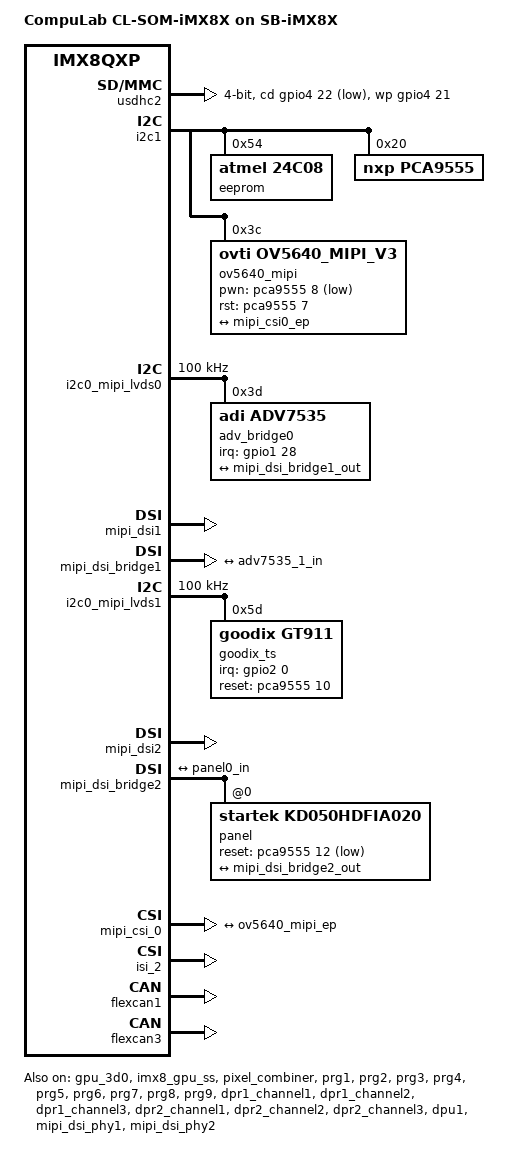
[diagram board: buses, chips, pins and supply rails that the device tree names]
/*
 * Copyright 2019 CompuLab
 *
 * This program is free software; you can redistribute it and/or
 * modify it under the terms of the GNU General Public License
 * as published by the Free Software Foundation; either version 2
 * of the License, or (at your option) any later version.
 *
 * This program is distributed in the hope that it will be useful,
 * but WITHOUT ANY WARRANTY; without even the implied warranty of
 * MERCHANTABILITY or FITNESS FOR A PARTICULAR PURPOSE.  See the
 * GNU General Public License for more details.
 */

#include "cl-som-imx8x.dts"

/ {
	model = "CompuLab CL-SOM-iMX8X on SB-iMX8X";
	compatible = "compulab,sbc-imx8x", "compulab,cl-som-imx8x", "fsl,imx8qxp";
};

&usdhc2 {
	pinctrl-names = "default", "state_100mhz", "state_200mhz";
	pinctrl-0 = <&pinctrl_usdhc2>, <&pinctrl_usdhc2_gpio>;
	pinctrl-1 = <&pinctrl_usdhc2_100mhz>, <&pinctrl_usdhc2_gpio>;
	pinctrl-2 = <&pinctrl_usdhc2_200mhz>, <&pinctrl_usdhc2_gpio>;
	bus-width = <4>;
	cd-gpios = <&gpio4 22 GPIO_ACTIVE_LOW>;
	wp-gpios = <&gpio4 21 GPIO_ACTIVE_HIGH>;
	status = "okay";
};

&i2c1 {
	eeprom@54 {
		compatible = "atmel,24c08";
		reg = <0x54>;
		pagesize = <16>;
	};

	pca9555: pca9555@20 {
		compatible = "nxp,pca9555";
		gpio-controller;
		#gpio-cells = <2>;
		reg = <0x20>;
	};

	ov5640_mipi: ov5640_mipi@3c {
		compatible = "ovti,ov5640_mipi_v3";
		reg = <0x3c>;
		pinctrl-names = "default";
		pinctrl-0 = <&pinctrl_mipi_csi0>;
		clocks = <&clk IMX8QXP_CLK_DUMMY>;
		clock-names = "csi_mclk";
		csi_id = <0>;
		pwn-gpios = <&pca9555 8 GPIO_ACTIVE_LOW>;
		rst-gpios = <&pca9555 7 GPIO_ACTIVE_HIGH>;
		mclk = <25000000>;
		mclk_source = <0>;
		mipi_csi;
		status = "okay";
		port {
			ov5640_mipi_ep: endpoint {
				remote-endpoint = <&mipi_csi0_ep>;
			};
		};
	};
};

/* GPU */
&gpu_3d0 {
        status = "okay";
};

&imx8_gpu_ss {
        status = "okay";
};

&pixel_combiner {
        status = "okay";
};

&prg1 {
        status = "okay";
};

&prg2 {
        status = "okay";
};

&prg3 {
        status = "okay";
};

&prg4 {
        status = "okay";
};

&prg5 {
        status = "okay";
};

&prg6 {
        status = "okay";
};

&prg7 {
        status = "okay";
};

&prg8 {
        status = "okay";
};

&prg9 {
        status = "okay";
};

&dpr1_channel1 {
	status = "okay";
};

&dpr1_channel2 {
	status = "okay";
};

&dpr1_channel3 {
	status = "okay";
};

&dpr2_channel1 {
	status = "okay";
};

&dpr2_channel2 {
	status = "okay";
};

&dpr2_channel3 {
	status = "okay";
};

/* Display */
&dpu1 {
	status = "okay";
};

/* DSI/LVDS port 0 */
&i2c0_mipi_lvds0 {
	#address-cells = <1>;
	#size-cells = <0>;
	pinctrl-names = "default";
	pinctrl-0 = <&pinctrl_i2c0_mipi_lvds0>;
	clock-frequency = <100000>;
	status = "okay";

	adv_bridge0: adv7535@3d {
		compatible = "adi,adv7535", "adi,adv7533";
		reg = <0x3d>;
		adi,dsi-lanes = <4>;
		adi,dsi-channel = <1>;
		interrupt-parent = <&gpio1>;
		interrupts = <28 IRQ_TYPE_LEVEL_LOW>;
		status = "okay";

		port {
			adv7535_1_in: endpoint {
				remote-endpoint = <&mipi_dsi_bridge1_out>;
			};
		};
	};

};

&mipi_dsi1 {
	pwr-delay = <10>;
	status = "okay";
};

&mipi_dsi_bridge1 {
	status = "okay";

	port@1 {
		mipi_dsi_bridge1_out: endpoint {
			remote-endpoint = <&adv7535_1_in>;
		};
	};
};

&mipi_dsi_phy1 {
	status = "okay";
};

/* MIPI Panel */
&i2c0_mipi_lvds1 {
	#address-cells = <1>;
	#size-cells = <0>;
	pinctrl-names = "default";
	pinctrl-0 = <&pinctrl_i2c0_mipi_lvds1>;
	clock-frequency = <100000>;
	status = "okay";

	goodix_ts@5d {
		compatible = "goodix,gt911";
		reg = <0x5d>;
		interrupt-parent = <&gpio2>;
		interrupts = <0 IRQ_TYPE_LEVEL_HIGH>;
		pinctrl-names = "default";
		pinctrl-0 = <&pinctrl_touchscreen>;
		irq-gpios = <&gpio2 0 GPIO_ACTIVE_HIGH>;
		reset-gpios = <&pca9555 10 GPIO_ACTIVE_HIGH>;
		status = "okay";
	};
};

&mipi_dsi2 {
	pwr-delay = <10>;
	status = "okay";
};

&mipi_dsi_bridge2 {
	status = "okay";

	port@1 {
		mipi_dsi_bridge2_out: endpoint {
			remote-endpoint = <&panel0_in>;
		};
	};

	panel@0 {
		compatible = "startek,kd050hdfia020";
		reg = <0>;
		reset-gpio = <&pca9555 12 GPIO_ACTIVE_LOW>;
		dsi-lanes = <4>;
		status = "okay";

		port {
			panel0_in: endpoint {
				remote-endpoint = <&mipi_dsi_bridge2_out>;
			};
		};
	};
};

&mipi_dsi_phy2 {
	status = "okay";
};

/* MIPI Camera */
&mipi_csi_0 {
	#address-cells = <1>;
	#size-cells = <0>;
	status = "okay";
	/delete-property/virtual-channel;

	port@0 {
		reg = <0>;
		mipi_csi0_ep: endpoint {
			remote-endpoint = <&ov5640_mipi_ep>;
			data-lanes = <1 2>;
		};
	};
};

&isi_2 {
	interface = <2 0 2>;
	status = "okay";
};

/* CAN bus */
&flexcan1 {
	pinctrl-names = "default";
	pinctrl-0 = <&pinctrl_flexcan1>;
	status = "okay";
};

&flexcan3 {
	pinctrl-names = "default";
	pinctrl-0 = <&pinctrl_flexcan3>;
	status = "okay";
};

&iomuxc {
	pinctrl-names = "default";
	pinctrl-0 = <&pinctrl_hog_sb>;

	sb-imx8x {
		pinctrl_hog_sb: hoggrp {
			fsl,pins = <
				SC_P_MIPI_DSI1_GPIO0_00_MIPI_DSI1_GPIO0_IO00    0x00000021
			>;
		};

		pinctrl_usdhc2_gpio: usdhc2gpiogrp {
			fsl,pins = <
				SC_P_USDHC1_RESET_B_LSIO_GPIO4_IO19	0x00000021
				SC_P_USDHC1_WP_LSIO_GPIO4_IO21		0x00000021
				SC_P_USDHC1_CD_B_LSIO_GPIO4_IO22	0x00000021
			>;
		};

		pinctrl_usdhc2: usdhc2grp {
			fsl,pins = <
				SC_P_USDHC1_CLK_CONN_USDHC1_CLK		0x06000041
				SC_P_USDHC1_CMD_CONN_USDHC1_CMD		0x00000021
				SC_P_USDHC1_DATA0_CONN_USDHC1_DATA0	0x00000021
				SC_P_USDHC1_DATA1_CONN_USDHC1_DATA1	0x00000021
				SC_P_USDHC1_DATA2_CONN_USDHC1_DATA2	0x00000021
				SC_P_USDHC1_DATA3_CONN_USDHC1_DATA3	0x00000021
				SC_P_USDHC1_VSELECT_CONN_USDHC1_VSELECT	0x00000021
			>;
		};

		pinctrl_usdhc2_100mhz: usdhc2grp100mhz {
			fsl,pins = <
				SC_P_USDHC1_CLK_CONN_USDHC1_CLK		0x06000041
				SC_P_USDHC1_CMD_CONN_USDHC1_CMD		0x00000021
				SC_P_USDHC1_DATA0_CONN_USDHC1_DATA0	0x00000021
				SC_P_USDHC1_DATA1_CONN_USDHC1_DATA1	0x00000021
				SC_P_USDHC1_DATA2_CONN_USDHC1_DATA2	0x00000021
				SC_P_USDHC1_DATA3_CONN_USDHC1_DATA3	0x00000021
				SC_P_USDHC1_VSELECT_CONN_USDHC1_VSELECT	0x00000021
			>;
		};

		pinctrl_usdhc2_200mhz: usdhc2grp200mhz {
			fsl,pins = <
				SC_P_USDHC1_CLK_CONN_USDHC1_CLK		0x06000041
				SC_P_USDHC1_CMD_CONN_USDHC1_CMD		0x00000021
				SC_P_USDHC1_DATA0_CONN_USDHC1_DATA0	0x00000021
				SC_P_USDHC1_DATA1_CONN_USDHC1_DATA1	0x00000021
				SC_P_USDHC1_DATA2_CONN_USDHC1_DATA2	0x00000021
				SC_P_USDHC1_DATA3_CONN_USDHC1_DATA3	0x00000021
				SC_P_USDHC1_VSELECT_CONN_USDHC1_VSELECT	0x00000021
			>;
		};

		pinctrl_i2c0_mipi_lvds0: mipi_lvds0_i2c0_grp {
			fsl,pins = <
				SC_P_MIPI_DSI0_I2C0_SCL_MIPI_DSI0_I2C0_SCL	0xc6000020
				SC_P_MIPI_DSI0_I2C0_SDA_MIPI_DSI0_I2C0_SDA	0xc6000020
				SC_P_MIPI_DSI0_GPIO0_01_LSIO_GPIO1_IO28		0x00000020
			>;
		};

		pinctrl_i2c0_mipi_lvds1: mipi_lvds0_i2c1_grp {
			fsl,pins = <
				SC_P_MIPI_DSI1_I2C0_SCL_MIPI_DSI1_I2C0_SCL	0xc6000020
				SC_P_MIPI_DSI1_I2C0_SDA_MIPI_DSI1_I2C0_SDA	0xc6000020
			>;
		};

		pinctrl_touchscreen: touchscreengrp{
			fsl,pins = <
				SC_P_MIPI_DSI1_GPIO0_01_LSIO_GPIO2_IO00		0x00000041
			>;
		};

		pinctrl_mipi_csi0: mipicsi0grp{
			fsl,pins = <
				SC_P_MIPI_CSI0_MCLK_OUT_MIPI_CSI0_ACM_MCLK_OUT  0xC0000041
			>;
		};

		pinctrl_flexcan1: flexcan0grp {
			fsl,pins = <
				SC_P_FLEXCAN0_TX_ADMA_FLEXCAN0_TX		0x00000021
				SC_P_FLEXCAN0_RX_ADMA_FLEXCAN0_RX		0x00000021
			>;
		};

		pinctrl_flexcan3: flexcan3grp {
			fsl,pins = <
				SC_P_FLEXCAN2_TX_ADMA_FLEXCAN2_TX		0x00000021
				SC_P_FLEXCAN2_RX_ADMA_FLEXCAN2_RX		0x00000021
			>;
		};
	};
};
